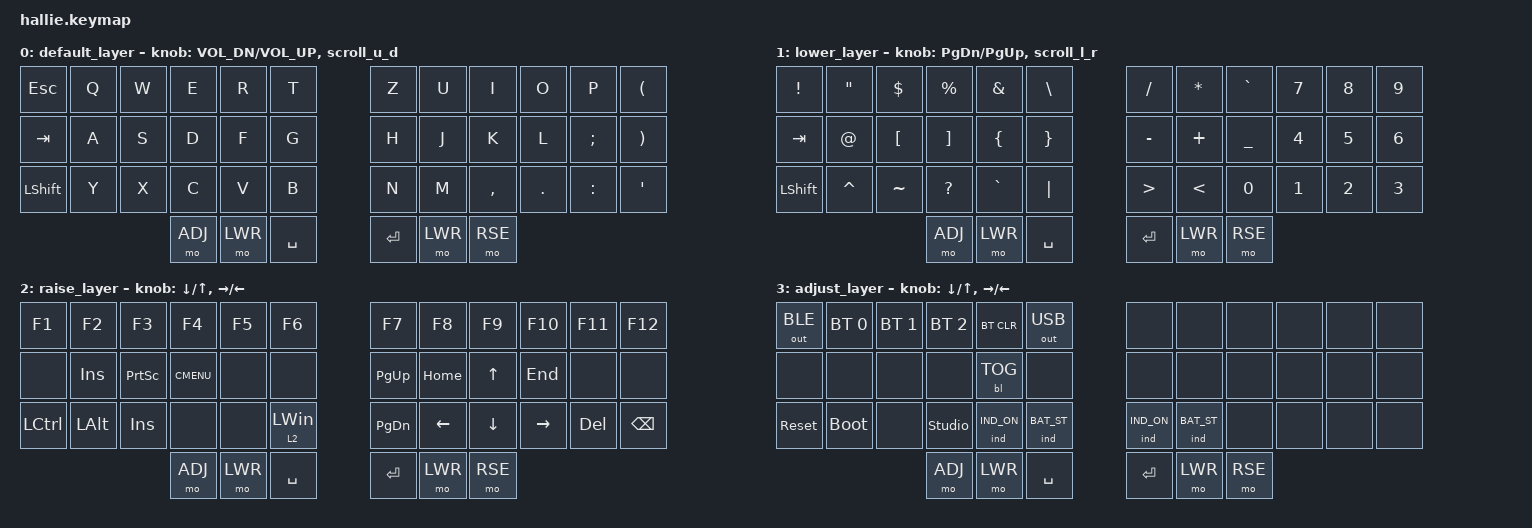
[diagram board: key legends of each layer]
#undef ZMK_BEHAVIORS_KEEP_ALL

#define ZMK_BEHAVIORS_KEEP_IND
#define ZMK_BEHAVIORS_KEEP_BT
#define ZMK_BEHAVIORS_KEEP_GRESC
#define ZMK_BEHAVIORS_KEEP_SYS_RESET
#define ZMK_BEHAVIORS_KEEP_BOOTLOADER
#define ZMK_BEHAVIORS_KEEP_CAPS_WORD
#define ZMK_BEHAVIORS_KEEP_KEY_REPEAT
#define ZMK_BEHAVIORS_KEEP_KT
#define ZMK_BEHAVIORS_KEEP_LT
#define ZMK_BEHAVIORS_KEEP_MT
#define ZMK_BEHAVIORS_KEEP_SK
#define ZMK_BEHAVIORS_KEEP_STICKY_LAYER
#define ZMK_BEHAVIORS_KEEP_TO
#define ZMK_BEHAVIORS_KEEP_TOG
#define ZMK_BEHAVIORS_KEEP_TRANS

#include <dt-bindings/zmk/indicators.h>
#include <behaviors.dtsi>
#include <dt-bindings/zmk/backlight.h>
#include <dt-bindings/zmk/bt.h>
#include <dt-bindings/zmk/keys.h>
#include <dt-bindings/zmk/outputs.h>

#define DEF 0
#define LWR 1
#define RSE 2
#define ADJ 3

&lt { quick_tap_ms = <200>; };

&mt { quick_tap_ms = <200>; };

/ {
    keymap {
        compatible = "zmk,keymap";

        default_layer {
            bindings = <
&kp ESC    &kp Q  &kp W  &kp E    &kp R    &kp T        &kp Z      &kp U    &kp I      &kp O    &kp P      &kp LEFT_PARENTHESIS
&kp TAB    &kp A  &kp S  &kp D    &kp F    &kp G        &kp H      &kp J    &kp K      &kp L    &kp SEMI   &kp RIGHT_PARENTHESIS
&kp LSHFT  &kp Y  &kp X  &kp C    &kp V    &kp B        &kp N      &kp M    &kp COMMA  &kp DOT  &kp COLON  &kp SINGLE_QUOTE
                         &mo ADJ  &mo LWR  &kp SPACE    &kp ENTER  &mo LWR  &mo RSE
            >;

            sensor-bindings = <&inc_dec_kp C_VOL_DN C_VOL_UP &scroll_u_d>;
        };

        lower_layer {
            bindings = <
&kp EXCLAMATION  &kp DOUBLE_QUOTES  &kp DOLLAR        &kp PERCENT        &kp AMPERSAND   &kp BACKSLASH      &kp SLASH         &kp ASTERISK   &kp GRAVE       &kp N7        &kp N8        &kp N9
&kp TAB          &kp AT_SIGN        &kp LEFT_BRACKET  &kp RIGHT_BRACKET  &kp LEFT_BRACE  &kp RIGHT_BRACE    &kp MINUS         &kp PLUS       &kp UNDERSCORE  &kp NUMBER_4  &kp N5        &kp NUMBER_6
&kp LSHFT        &kp CARET          &kp TILDE         &kp QUESTION       &kp GRAVE       &kp PIPE           &kp GREATER_THAN  &kp LESS_THAN  &kp N0          &kp NUMBER_1  &kp NUMBER_2  &kp NUMBER_3
                                                      &mo ADJ            &mo LWR         &kp SPACE          &kp ENTER         &mo LWR        &mo RSE
            >;

            sensor-bindings = <&inc_dec_kp PG_DN PG_UP &scroll_l_r>;
        };

        raise_layer {
            bindings = <
&kp F1     &kp F2        &kp F3      &kp F4       &kp F5   &kp F6            &kp F7     &kp F8    &kp F9    &kp F10    &kp F11  &kp F12
&none      &kp INS       &kp PSCRN   &kp K_CMENU  &none    &none             &kp PG_UP  &kp HOME  &kp UP    &kp END    &none    &none
&kp LCTRL  &kp LEFT_ALT  &kp INSERT  &none        &none    &lt 2 LEFT_WIN    &kp PG_DN  &kp LEFT  &kp DOWN  &kp RIGHT  &kp DEL  &kp BSPC
                                     &mo ADJ      &mo LWR  &kp SPACE         &kp ENTER  &mo LWR   &mo RSE
            >;

            sensor-bindings = <&inc_dec_kp DOWN_ARROW UP_ARROW &inc_dec_kp RIGHT_ARROW LEFT_ARROW>;
        };

        adjust_layer {
            bindings = <
&out OUT_BLE  &bt BT_SEL 0  &bt BT_SEL 1  &bt BT_SEL 2    &bt BT_CLR   &out OUT_USB    &none        &none        &none    &none  &none  &none
&none         &none         &none         &none           &bl BL_TOG   &none           &none        &none        &none    &none  &none  &none
&sys_reset    &bootloader   &none         &studio_unlock  &ind IND_ON  &ind BAT_ST     &ind IND_ON  &ind BAT_ST  &none    &none  &none  &none
                                          &mo ADJ         &mo LWR      &kp SPACE       &kp ENTER    &mo LWR      &mo RSE
            >;

            sensor-bindings = <&inc_dec_kp DOWN_ARROW UP_ARROW &inc_dec_kp RIGHT_ARROW LEFT_ARROW>;
        };

        extra1 { status = "reserved"; };

        extra2 { status = "reserved"; };

        extra3 { status = "reserved"; };

        extra4 { status = "reserved"; };
    };
};
